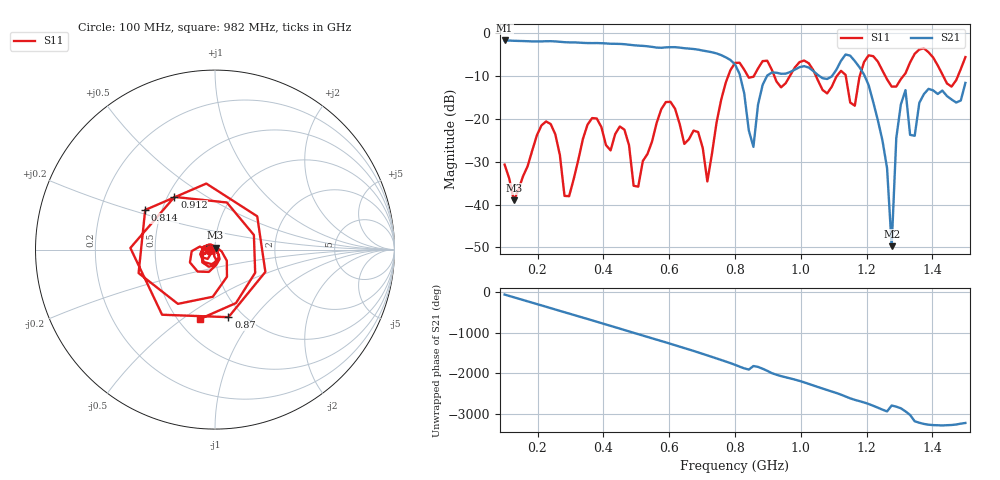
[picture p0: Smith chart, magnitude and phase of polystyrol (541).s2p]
! NanoVNA-App
! Date: 2025-09-25 15:34:06
! Start: 100MHz Stop: 1,5GHz Points: 101
! S-Parameter data: F S11 S21 S12 S22
# Hz S RI R 50
!  Frequency  S11_Real  S11_Imag  S21_Real  S21_Imag  S12_Real  S12_Imag  S22_Real  S22_Imag
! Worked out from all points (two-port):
!   101 points, 100 MHz to 1.5 GHz, reference 50 ohm
!   highest |S21| = -1.80 dB at 100 MHz (marker M1); lowest = -49.7 dB at 1.276 GHz (marker M2)
!   |S21| within 3 dB of the highest: start of sweep to 743.1 MHz
!   lowest |S11| = -39.1 dB at 128 MHz (marker M3), VSWR 1.02, Z = 50.3 + j1.07 ohm
!   |S11| at or under -10 dB: start of sweep to 779.8 MHz; 1.046 GHz to 1.11 GHz (64.76 MHz wide, 6.01 % of centre); 1.256 GHz to 1.312 GHz (56.08 MHz wide, 4.37 % of centre) (the widest 3 of 7)
!   S12 and S22 are empty: the file has one direction only
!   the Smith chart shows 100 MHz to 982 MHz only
!   S11 on the Smith chart (normalised r, x): 100 MHz: 0.94, -0.01; 814 MHz: 0.40, +0.22; 870 MHz: 0.85, -0.75; 912 MHz: 0.54, +0.37; 982 MHz: 0.64, -0.58
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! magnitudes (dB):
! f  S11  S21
! 100 MHz  -30.7  -1.8
! 128 MHz  -39.1  -1.9
! 212 MHz  -21.6  -2.0
! 282 MHz  -38.0  -2.2
! 338 MHz  -24.7  -2.4
! 506 MHz  -35.8  -3.0
! 576 MHz  -17.8  -3.5
! 716 MHz  -34.6  -4.3
! 800 MHz  -7.0  -7.4
! 814 MHz  -7.0  -9.6
! 856 MHz  -10.3  -26.6
! 870 MHz  -8.3  -16.7
! 912 MHz  -8.6  -9.3
! 982 MHz  -8.1  -8.6
! 1.038 GHz  -8.7  -8.9
! 1.192 GHz  -6.8  -9.7
! 1.262 GHz  -10.9  -31.5
! 1.276 GHz  -12.5  -49.7
! 1.29 GHz  -12.5  -24.5
! 1.318 GHz  -9.4  -13.4
! 1.346 GHz  -4.9  -24.0
! 1.5 GHz  -5.7  -11.7
